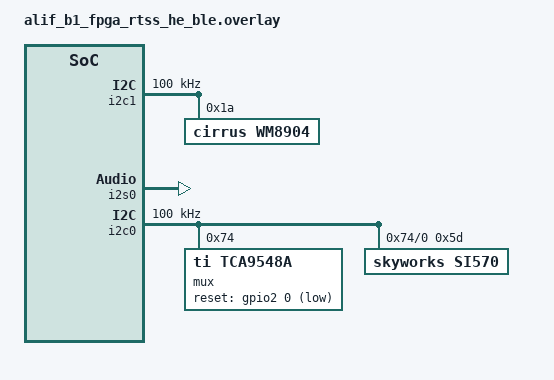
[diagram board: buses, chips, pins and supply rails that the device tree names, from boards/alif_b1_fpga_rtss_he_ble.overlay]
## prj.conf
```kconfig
# Copyright (C) 2023 Alif Semiconductor - All Rights Reserved.
# Use, distribution and modification of this code is permitted under the
# terms stated in the Alif Semiconductor Software License Agreement
#
# You should have received a copy of the Alif Semiconductor Software
# License Agreement with this file. If not, please write to:
# contact@alifsemi.com, or visit: https://alifsemi.com/license

CONFIG_USE_SEGGER_RTT=y
CONFIG_RTT_CONSOLE=y

CONFIG_LOG=y
CONFIG_ASSERT=y

CONFIG_I2C=y

CONFIG_WM8904=y
CONFIG_WM8904_LOG_LEVEL_DBG=y

CONFIG_SI570=y
CONFIG_SI570_LOG_LEVEL_DBG=y

CONFIG_I2C_INIT_PRIORITY=50
CONFIG_I2C_TCA954X_ROOT_INIT_PRIO=51
CONFIG_I2C_TCA954X_CHANNEL_INIT_PRIO=52
CONFIG_WM8904_INIT_PRIORITY=53

CONFIG_I2S=y
CONFIG_I2S_ENSEMBLE=y

# Needed for math functions
CONFIG_NEWLIB_LIBC=y
```

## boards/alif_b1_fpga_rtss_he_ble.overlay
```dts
/* Copyright (C) 2023 Alif Semiconductor - All Rights Reserved.
 * Use, distribution and modification of this code is permitted under the
 * terms stated in the Alif Semiconductor Software License Agreement
 *
 * You should have received a copy of the Alif Semiconductor Software
 * License Agreement with this file. If not, please write to:
 * contact@alifsemi.com, or visit: https://alifsemi.com/license
 *
 */

#include <dt-bindings/pinctrl/balletto-pinctrl.h>
#include <dt-bindings/i2c/i2c.h>
#include <dt-bindings/gpio/gpio.h>

/ {
	aliases {
		audio-codec = &wm8904;
		i2s-bus = &i2s0;
	};

	soc {
		i2c1: i2c0@49011000 {
			compatible = "snps,designware-i2c";
			clock-frequency = <I2C_BITRATE_STANDARD>;
			#address-cells = <1>;
			#size-cells = <0>;
			reg = <0x49011000 0x1000>;
			pinctrl-0 = < &pinctrl_i2c1 >;
			pinctrl-names = "default";
			interrupt-parent = <&nvic>;
			interrupts = <133 3>;
			status = "okay";

			wm8904: wm8904@1a {
				compatible = "cirrus,wm8904";
				reg = <0x1a>;
				status = "okay";
			};
		};

		i2s0: i2s0@49014000 {
			compatible = "alif,ensemble-i2s";
			reg = <0x49014000 0x1000>;
			pinctrl-names = "default";
			pinctrl-0 = <&pinctrl_i2s0>;
			interrupts = <141 3>;
			status = "okay";
		};

		i2c0: i2c0@49010000 {
			compatible = "snps,designware-i2c";
			clock-frequency = <I2C_BITRATE_STANDARD>;
			#address-cells = <1>;
			#size-cells = <0>;
			reg = <0x49010000 0x1000>;
			pinctrl-0 = < &pinctrl_i2c0 >;
			pinctrl-names = "default";
			interrupt-parent = <&nvic>;
			interrupts = <132 3>;
			status = "okay";

			mux: tca9548a@74 {
				compatible = "ti,tca9548a";
				reg = <0x74>;
				status = "okay";
				#address-cells = <1>;
				#size-cells = <0>;
				reset-gpios = <&gpio2 0 GPIO_ACTIVE_LOW>;

				ch0: mux_i2c@0 {
					compatible = "ti,tca9548a-channel";
					reg = <0>;
					status = "okay";
					#address-cells = <1>;
					#size-cells = <0>;

					si570: si570@5d {
						compatible = "skyworks,si570";
						reg = <0x5d>;
						factory-fout = <156250000>;
						initial-freq = <12288000>;
					};
				};
			};
		};
	};
};

&pinctrl {
	pinctrl_i2c1: pinctrl_i2c1 {
		group0 {
			/* Note: defined pinmux names are wrong so just setting numbers directly */
			pinmux = < PINMUX_PIN(PIN_P2_6, 3) >, /* I2C1 SCL */
				< PINMUX_PIN(PIN_P2_7, 3) >; /* I2C1 SDA */
			read_enable = < 0x1 >;
		};
	};

	pinctrl_i2s0:pinctrl_i2s0 {
		group0 {
			/* Note: defined pinmux names are wrong so just setting numbers directly */
			pinmux = < PINMUX_PIN(PIN_P1_4, 2) >, /* I2S0 SDI A  */
				< PINMUX_PIN(PIN_P1_5, 2) >, /* I2S0 SDO A  */
				< PINMUX_PIN(PIN_P1_7, 3) >, /* I2S0 WS A   */
				< PINMUX_PIN(PIN_P1_6, 3) >; /* I2S0 SCLK A */
		};
	};

	pinctrl_i2c0: pinctrl_i2c0 {
		group0 {
			pinmux = < PIN_P2_4__I2C0_SCL_B >,
				< PIN_P2_5__I2C0_SDA_B >;
			read_enable = < 0x1 >;
		};
	};
};
```

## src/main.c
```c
/* Copyright (C) 2023 Alif Semiconductor - All Rights Reserved.
 * Use, distribution and modification of this code is permitted under the
 * terms stated in the Alif Semiconductor Software License Agreement
 *
 * You should have received a copy of the Alif Semiconductor Software
 * License Agreement with this file. If not, please write to:
 * contact@alifsemi.com, or visit: https://alifsemi.com/license
 */

#include <zephyr/kernel.h>
#include <zephyr/logging/log.h>
#include <zephyr/sys/__assert.h>
#include <zephyr/device.h>
#include <zephyr/drivers/i2s.h>
#include <math.h>

#define I2S_WORD_SIZE_BITS                16
#define I2S_WORD_SIZE_BYTES               (I2S_WORD_SIZE_BITS / 8)
#define I2S_CHANNEL_COUNT                 2
#define I2S_SAMPLE_FREQUENCY              48000
#define I2S_SAMPLES_PER_CHANNEL_PER_FRAME 480
#define I2S_TIMEOUT_MS                    SYS_FOREVER_MS
#define I2S_BLOCK_COUNT                   5
#define I2S_MEM_ALIGN                     4
#define I2S_BLOCK_SIZE_BYTES                                                                       \
	(I2S_SAMPLES_PER_CHANNEL_PER_FRAME * I2S_CHANNEL_COUNT * I2S_WORD_SIZE_BYTES)

#define SIGNAL_AMPLITUDE 4000.0f
#define SIGNAL_FREQUENCY 400.0f
#define PI               3.14159265358979323846f /* M_PI is missing from math.h */

LOG_MODULE_REGISTER(main);

#define CODEC_NODE DT_ALIAS(audio_codec)
static const struct device *codec_dev = DEVICE_DT_GET(CODEC_NODE);

#define I2S_NODE DT_ALIAS(i2s_bus)
static const struct device *i2s_dev = DEVICE_DT_GET(I2S_NODE);

K_MEM_SLAB_DEFINE_STATIC(i2s_mem, I2S_BLOCK_SIZE_BYTES, I2S_BLOCK_COUNT, I2S_MEM_ALIGN);

static int16_t tx_data_block[I2S_CHANNEL_COUNT * I2S_SAMPLES_PER_CHANNEL_PER_FRAME];

static void tx_data_populate(void)
{
	/* Populate the TX data with a constant frequency signal */
	for (uint32_t i = 0; i < I2S_SAMPLES_PER_CHANNEL_PER_FRAME; i++) {
		int16_t *left = &tx_data_block[i * I2S_CHANNEL_COUNT];
		int16_t *right = &tx_data_block[i * I2S_CHANNEL_COUNT + 1];

		int16_t sample = SIGNAL_AMPLITUDE *
				 sin((2.0f * PI * SIGNAL_FREQUENCY * i) / I2S_SAMPLE_FREQUENCY);
		*left = sample;
		*right = sample;
	}
}

static int write_one_block(const struct device *dev, k_timeout_t timeout)
{
	void *mem_block;

	int ret = k_mem_slab_alloc(&i2s_mem, &mem_block, timeout);

	if (ret) {
		LOG_ERR("Failed to allocate slab, err %d", ret);
		return ret;
	}

	memcpy(mem_block, tx_data_block, I2S_BLOCK_SIZE_BYTES);

	ret = i2s_write(dev, mem_block, I2S_BLOCK_SIZE_BYTES);
	if (ret) {
		LOG_ERR("Failed to write to I2S, err %d", ret);
		return ret;
	}

	return 0;
}

static int i2s_buffers_fill(const struct device *dev)
{
	for (uint32_t i = 0; i < I2S_BLOCK_COUNT; i++) {
		int ret = write_one_block(dev, K_NO_WAIT);

		if (ret) {
			return ret;
		}
	}

	return 0;
}

int main(void)
{
	LOG_INF("WM8904 demo starting");

	if (!device_is_ready(codec_dev)) {
		LOG_ERR("WM8904 codec is not ready");
		return -1;
	}

	if ((!device_is_ready(i2s_dev))) {
		LOG_ERR("I2S device is not ready");
		return -1;
	}

	tx_data_populate();

	struct i2s_config i2s_cfg = {.word_size = I2S_WORD_SIZE_BITS,
				     .channels = I2S_CHANNEL_COUNT,
				     .format = I2S_FMT_DATA_FORMAT_I2S,
				     .options = I2S_OPT_FRAME_CLK_MASTER | I2S_OPT_BIT_CLK_MASTER,
				     .frame_clk_freq = I2S_SAMPLE_FREQUENCY,
				     .mem_slab = &i2s_mem,
				     .block_size = I2S_BLOCK_SIZE_BYTES,
				     .timeout = I2S_TIMEOUT_MS};

	int ret = i2s_configure(i2s_dev, I2S_DIR_TX, &i2s_cfg);

	if (ret) {
		LOG_ERR("Failed to configure I2S, err %d", ret);
		return ret;
	}

	ret = i2s_buffers_fill(i2s_dev);
	if (ret) {
		LOG_ERR("Failed to fill I2S buffers, err %d", ret);
		return ret;
	}

	ret = i2s_trigger(i2s_dev, I2S_DIR_TX, I2S_TRIGGER_START);
	if (ret) {
		LOG_ERR("Failed to trigger I2S, err %d", ret);
		return ret;
	}

	LOG_INF("Triggered I2S start");

	uint32_t ctr = 0;

	while (1) {
		/* Continuously fill the I2S buffers. */
		ret = write_one_block(i2s_dev, K_FOREVER);
		if (ret) {
			LOG_ERR("Failed to fill I2S buffer");
			return ret;
		}

		ctr++;

		if ((ctr % 128) == 0) {
			LOG_INF("I2S blocks sent: %u", ctr);
		}
	}
}
```
